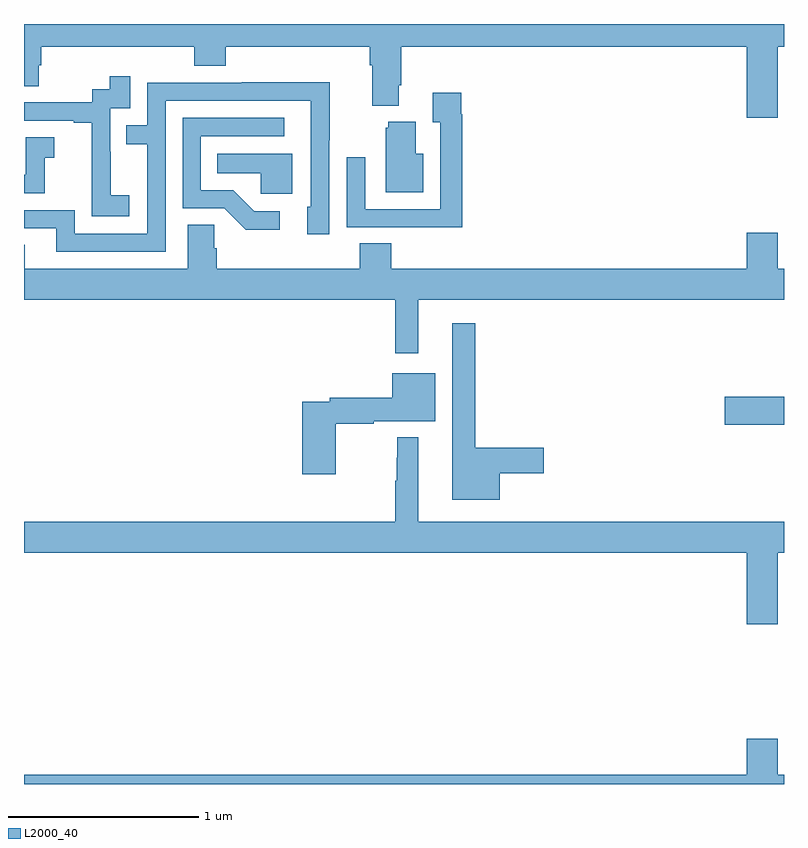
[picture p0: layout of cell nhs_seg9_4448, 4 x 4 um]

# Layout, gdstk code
import gdstk
lib = gdstk.Library(unit=1e-6, precision=1e-09)
def R(c, l, rs):  # rectangles x0, y0, x1, y1
    for r in rs: c.add(gdstk.rectangle(r[:2], r[2:], *l))
def P(c, l, *ps):  # polygons
    for p in ps: c.add(gdstk.Polygon(p, *l))
L2000_40 = (2000, 40)

nhs_seg9_4448 = lib.new_cell('nhs_seg9_4448')
R(nhs_seg9_4448, L2000_40, [(368.688,1234.391,369,1234.538)])
P(nhs_seg9_4448, L2000_40, [(368.968,1236.38),(369,1236.38),(369,1236.5),(365,1236.5),(365,1236.172),(365.077,1236.172),(365.077,1236.282),(365.09,1236.282),(365.09,1236.38),(365.897,1236.38),(365.897,1236.281),(366.062,1236.281),(366.062,1236.38),(366.821,1236.38),(366.821,1236.284),(366.833,1236.284),(366.833,1236.071),(366.973,1236.071),(366.973,1236.178),(366.986,1236.178),(366.986,1236.38),(368.804,1236.38),(368.804,1236.006),(368.968,1236.006)],
  [(365.554,1235.599),(365.456,1235.599),(365.456,1235.828),(365.454,1235.828),(365.454,1236.057),(365.559,1236.057),(365.559,1236.226),(365.451,1236.226),(365.451,1236.156),(365.358,1236.156),(365.358,1236.087),(365,1236.087),(365,1235.991),(365.261,1235.991),(365.261,1235.979),(365.357,1235.979),(365.357,1235.695),(365.356,1235.695),(365.356,1235.489),(365.554,1235.489)],
  [(365.745,1236.096),(366.509,1236.096),(366.509,1235.86),(366.51,1235.86),(366.51,1235.538),(366.491,1235.538),(366.491,1235.394),(366.606,1235.394),(366.606,1235.887),(366.609,1235.887),(366.609,1236.194),(366.145,1236.194),(366.145,1236.192),(365.649,1236.192),(365.649,1235.967),(365.539,1235.967),(365.539,1235.866),(365.649,1235.866),(365.649,1235.397),(365.268,1235.397),(365.268,1235.52),(365,1235.52),(365,1235.424),(365.171,1235.424),(365.171,1235.301),(365.745,1235.301)],
  [(367.307,1236.026),(367.3,1236.026),(367.3,1236.139),(367.151,1236.139),(367.151,1235.983),(367.191,1235.983),(367.191,1235.526),(366.795,1235.526),(366.795,1235.8),(366.699,1235.8),(366.699,1235.43),(367.015,1235.43),(367.015,1235.429),(367.307,1235.429)],
  [(366.346,1235.514),(366.211,1235.514),(366.1,1235.625),(365.931,1235.625),(365.931,1235.91),(366.37,1235.91),(366.37,1236.006),(365.835,1236.006),(365.835,1235.529),(366.054,1235.529),(366.167,1235.417),(366.346,1235.417)],
  [(367.102,1235.818),(367.063,1235.818),(367.063,1235.986),(366.917,1235.986),(366.917,1235.955),(366.905,1235.955),(366.905,1235.615),(367.102,1235.615)],
  [(365.109,1235.795),(365.158,1235.795),(365.158,1235.905),(365.01,1235.905),(365.01,1235.706),(365,1235.706),(365,1235.61),(365.109,1235.61)],
  [(366.412,1235.818),(366.016,1235.818),(366.016,1235.714),(366.247,1235.714),(366.247,1235.606),(366.412,1235.606)],
  [(367.075,1235.048),(369,1235.048),(369,1235.212),(368.968,1235.212),(368.968,1235.401),(368.804,1235.401),(368.804,1235.212),(366.932,1235.212),(366.932,1235.345),(366.767,1235.345),(366.767,1235.212),(366.014,1235.212),(366.014,1235.321),(366,1235.321),(366,1235.444),(365.861,1235.444),(365.861,1235.212),(365.005,1235.212),(365.005,1235.339),(365,1235.339),(365,1235.048),(366.954,1235.048),(366.954,1234.767),(367.075,1234.767)],
  [(367.504,1234.136),(367.735,1234.136),(367.735,1234.271),(367.375,1234.271),(367.375,1234.924),(367.253,1234.924),(367.253,1233.995),(367.504,1233.995)],
  [(366.642,1234.396),(366.842,1234.396),(366.842,1234.409),(367.165,1234.409),(367.165,1234.663),(366.938,1234.663),(366.938,1234.532),(366.61,1234.532),(366.61,1234.512),(366.464,1234.512),(366.464,1234.131),(366.642,1234.131)],
  [(368.968,1233.716),(369,1233.716),(369,1233.88),(367.075,1233.88),(367.075,1234.324),(366.964,1234.324),(366.964,1234.217),(366.961,1234.217),(366.961,1234.097),(366.954,1234.097),(366.954,1233.88),(365,1233.88),(365,1233.716),(368.804,1233.716),(368.804,1233.342),(368.968,1233.342)],
  [(369,1232.548),(368.968,1232.548),(368.968,1232.737),(368.804,1232.737),(368.804,1232.548),(365,1232.548),(365,1232.5),(369,1232.5)])

lib.write_gds('nhs_seg9_4448.gds')
